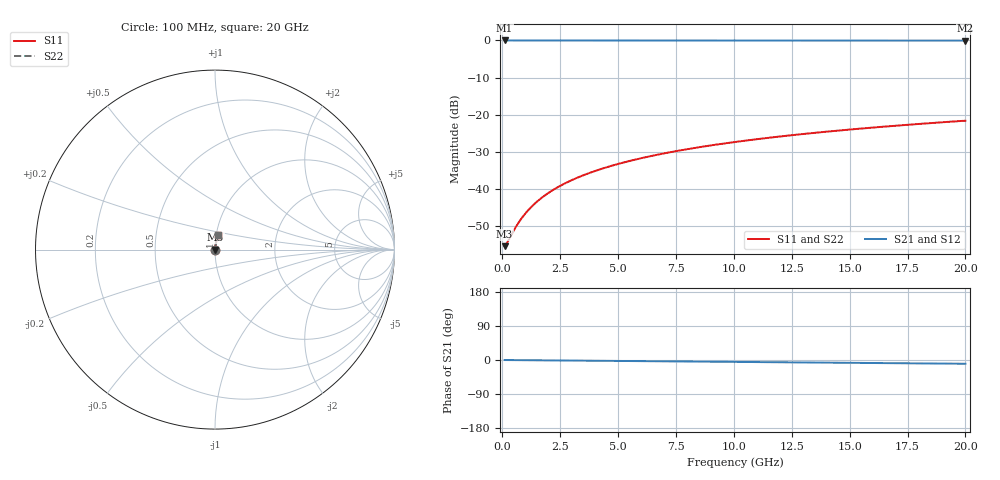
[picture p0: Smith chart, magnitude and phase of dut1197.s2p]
! Touchstone file exported from HFSS 2026.1.0
!  File:  C:/ffzhzh/LocalFiles/Ansys_Project_Files/temp_train_TSV_1197_1783192540_43440.aedt
!  Generated:  03:18:16 AM Jul  5, 2026
!  Design:  TSV
!  Project:  temp_train_TSV_1197_1783192540_43440
! Variables:
!  h_bsmrdl = 2um
!  h_ox = 20um
!  h_rdl = 5um
!  h_sub = 92.12um
!  h_tmrdl = 5um
!  h_tsv = 92.12um
!  h_via = 3um
!  l_bsmrdl = 300um
!  l_sub = 405.06um
!  l_tmrdl = 200um
!  m_sub = 200um
!  pitch = 24.37um
!  r_tsv = 2.53um
!  s_tmrdl = 10um
!  w_bsmrdl = 18um
!  w_sub = 500um
!  w_tmrdl = 12um
!  x_tsv_center1 = 206um
!  x_tsv_center2 = 524um
!  x_tsv_center3 = 736um
!  x_tsv_center4 = 1054um
!  x_tsv_center5 = 1266um
!  x_tsv_center6 = 1584um
# GHz S MA R 50.000000
! Terminal data exported
! Port[1] = TSV1_1_T1
! Port[2] = TSV1_1_T2
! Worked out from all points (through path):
!   200 points, 100 MHz to 20 GHz, reference 50 ohm
!   highest |S21| = -0.01 dB at 100 MHz (marker M1); lowest = -0.1 dB at 20 GHz (marker M2)
!   group delay of S21, straight-line fit = 1.37 ps
!   lowest |S11| = -55.3 dB at 100 MHz (marker M3), VSWR 1.00, Z = 50.2 + j0.045 ohm
!   |S11| at or under -10 dB: start of sweep to end of sweep
!   |S22| runs from -55.3 to -21.6 dB; largest |S21 - S12| = 9.6e-15
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0.1  0.001715 15.2  0.9983 -0.1  0.9983 -0.1  0.001715 15.2
! Gamma 0 0 0 0
! Port Impedance 50 0 50 0
0.2  0.001889 28.3  0.9983 -0.1  0.9983 -0.1  0.001889 28.3
0.6  0.003159 57.2  0.9983 -0.3  0.9983 -0.3  0.003159 57.2
0.8  0.003931 63.7  0.9983 -0.4  0.9983 -0.4  0.003931 63.7
0.9  0.004331 66.1  0.9983 -0.5  0.9983 -0.5  0.004331 66.1
1.1  0.005147 69.7  0.9983 -0.6  0.9983 -0.6  0.005147 69.7
1.4  0.006397 73.4  0.9982 -0.7  0.9982 -0.7  0.006397 73.4
1.6  0.007242 75.1  0.9982 -0.8  0.9982 -0.8  0.007242 75.1
1.8  0.008093 76.4  0.9982 -0.9  0.9982 -0.9  0.008093 76.4
2.3  0.01023 78.6  0.9981 -1.2  0.9981 -1.2  0.01023 78.6
2.9  0.01281 80.1  0.998 -1.5  0.998 -1.5  0.01281 80.1
3.5  0.0154 81.0  0.9979 -1.8  0.9979 -1.8  0.0154 81.0
4.2  0.01841 81.5  0.9978 -2.1  0.9978 -2.1  0.01841 81.5
5  0.02184 81.8  0.9976 -2.5  0.9976 -2.5  0.02184 81.8
5.9  0.02569 81.9  0.9974 -3.0  0.9974 -3.0  0.02569 81.9
6.8  0.02951 81.8  0.9971 -3.4  0.9971 -3.4  0.02951 81.8
8.3  0.03583 81.5  0.9967 -4.2  0.9967 -4.2  0.03583 81.5
10.1  0.04333 80.9  0.996 -5.1  0.996 -5.1  0.04333 80.9
11.7  0.04992 80.3  0.9954 -5.9  0.9954 -5.9  0.04992 80.3
13.4  0.05687 79.7  0.9948 -6.7  0.9948 -6.7  0.05687 79.7
16.7  0.0702 78.4  0.9934 -8.3  0.9934 -8.3  0.0702 78.4
20  0.08335 77.0  0.992 -9.9  0.992 -9.9  0.08335 77.0
